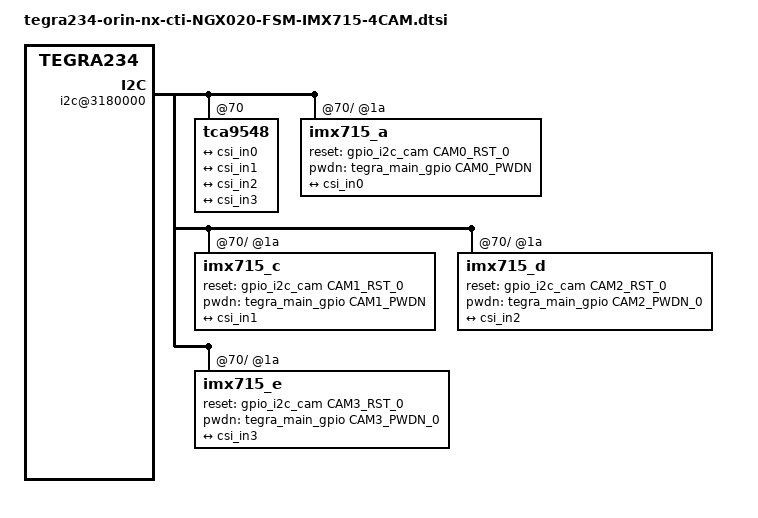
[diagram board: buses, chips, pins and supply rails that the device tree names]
#include "tegra234-orin-nx-cti-NGX020-FSM-4CAM-base.dtsi"
#include "tegra234-cti-fsm-imx715-modes-header.dtsi"

#include "dt-bindings/clock/tegra234-clock.h"

/ {

    i2c@3180000 {
		tca9548@70 {
			status = "okay";	
			i2c@0 {
				status = "okay";
				imx715_a@1a{
					status  = "okay";							
					devnode = "video0";
								
                    reset-gpios = <&gpio_i2c_cam CAM0_RST_0 GPIO_ACTIVE_HIGH>;
					pwdn-gpios = <&tegra_main_gpio CAM0_PWDN GPIO_ACTIVE_HIGH>;
                    
                    SENSOR_COMMON

#define LANE_POLARITY I2C0_LANEPOLARITY
#define TEGRA_SINTERFACE I2C0_SINTERFACE

                    SENSOR_MODE0_2LANE
                    SENSOR_MODE1_2LANE
                    SENSOR_MODE2_2LANE
                    SENSOR_MODE3_2LANE
                    SENSOR_MODE4_2LANE

                    ports {
                        #address-cells = <1>;
                        #size-cells = <0>;
                        port@0 {
                            reg = <0>;
                            vi_out0: endpoint {
                                port-index = VI_CSI_PORT_INDEX0;
                                bus-width = BUS_WIDTH_INDEX0;
                                remote-endpoint = <&csi_in0>;
                            };
                        };
                    };
                };
            };

            i2c@1 {
                status = "okay";
                imx715_c@1a {
                    status = "okay";
                    devnode = "video2";

                    reset-gpios = <&gpio_i2c_cam CAM1_RST_0 GPIO_ACTIVE_HIGH>;
					pwdn-gpios = <&tegra_main_gpio CAM1_PWDN GPIO_ACTIVE_HIGH>;
								
                    SENSOR_COMMON

#undef LANE_POLARITY
#undef TEGRA_SINTERFACE
#define LANE_POLARITY I2C1_LANEPOLARITY
#define TEGRA_SINTERFACE I2C1_SINTERFACE

                    SENSOR_MODE0_4LANE
                    SENSOR_MODE1_4LANE
                    SENSOR_MODE2_4LANE
                    SENSOR_MODE3_4LANE
                    SENSOR_MODE4_4LANE

                    ports {
					    #address-cells = <1>;
						#size-cells = <0>;
						port@0 {
							reg = <0>;
							vi_out1: endpoint {
								port-index = VI_CSI_PORT_INDEX1;
								bus-width = BUS_WIDTH_INDEX1;
                                remote-endpoint = <&csi_in1>;
							};
						};
					};
                };
            };

            i2c@2 {
                status = "okay";
                imx715_d@1a {
                    status = "okay";
                    devnode = "video4";

                    reset-gpios = <&gpio_i2c_cam CAM2_RST_0 GPIO_ACTIVE_HIGH>;
					pwdn-gpios = <&tegra_main_gpio CAM2_PWDN_0 GPIO_ACTIVE_HIGH>;
								
                    SENSOR_COMMON

#undef LANE_POLARITY
#undef TEGRA_SINTERFACE
#define LANE_POLARITY I2C2_LANEPOLARITY
#define TEGRA_SINTERFACE I2C2_SINTERFACE

                    SENSOR_MODE0_4LANE
                    SENSOR_MODE1_4LANE
                    SENSOR_MODE2_4LANE
                    SENSOR_MODE3_4LANE
                    SENSOR_MODE4_4LANE

                    ports {
					    #address-cells = <1>;
						#size-cells = <0>;
						port@0 {
							reg = <0>;
							vi_out2: endpoint {
								port-index = VI_CSI_PORT_INDEX1;
								bus-width = BUS_WIDTH_INDEX2;
                                remote-endpoint = <&csi_in2>;
							};
						};
					};
                };
            };

            i2c@3 {
                status = "okay";
                imx715_e@1a {
                    status = "okay";
                    devnode = "video6";

                    reset-gpios = <&gpio_i2c_cam CAM3_RST_0 GPIO_ACTIVE_HIGH>;
					pwdn-gpios = <&tegra_main_gpio CAM3_PWDN_0 GPIO_ACTIVE_HIGH>;
								
                    SENSOR_COMMON

#undef LANE_POLARITY
#undef TEGRA_SINTERFACE
#define LANE_POLARITY I2C3_LANEPOLARITY
#define TEGRA_SINTERFACE I2C3_SINTERFACE

                    SENSOR_MODE0_4LANE
                    SENSOR_MODE1_4LANE
                    SENSOR_MODE2_4LANE
                    SENSOR_MODE3_4LANE
                    SENSOR_MODE4_4LANE

                    ports {
					    #address-cells = <1>;
						#size-cells = <0>;
						port@0 {
							reg = <0>;
							vi_out3: endpoint {
								port-index = VI_CSI_PORT_INDEX3;
								bus-width = BUS_WIDTH_INDEX3;
                                remote-endpoint = <&csi_in3>;
							};
						};
					};
                };
            };
        };
    };

    tegra-camera-platform {
		modules {
			module0 {
				badge = "imx715_bottomleft_framos";
				position = "bottomleft";
				orientation = "1";
				status = "okay";
				drivernode0 {
					status = "okay";
					pcl_id = "v4l2_sensor";
					devname = "imx715 30-001a";
					proc-device-tree = "/proc/device-tree/i2c@3180000/tca9548@70/i2c@0/imx715_a@1a";
				};
			};
			module1 {
				badge = "imx715_centerright_framos";
				position = "centerright";
				orientation = "1";
				status = "okay";
				drivernode0 {
					status = "okay";
					pcl_id = "v4l2_sensor";
					devname = "imx715 31-001a";
					proc-device-tree = "/proc/device-tree/i2c@3180000/tca9548@70/i2c@1/imx715_c@1a";
				};
			};
			module2 {
				badge = "imx715_bottomright_framos";
				position = "bottomright";
				orientation = "1";
				status = "okay";
				drivernode0 {
					status = "okay";
					pcl_id = "v4l2_sensor";
					devname = "imx715 32-001a";
					proc-device-tree = "/proc/device-tree/i2c@3180000/tca9548@70/i2c@2/imx715_d@1a";
				};
			};
			module3 {
				badge = "imx715_topright_framos";
				position = "topright";
				orientation = "1";
				status = "okay";
				drivernode0 {
					status = "okay";
					pcl_id = "v4l2_sensor";
					devname = "imx715 33-001a";
					proc-device-tree = "/proc/device-tree/i2c@3180000/tca9548@70/i2c@3/imx715_e@1a";
				};
			};
		};
	};
};
